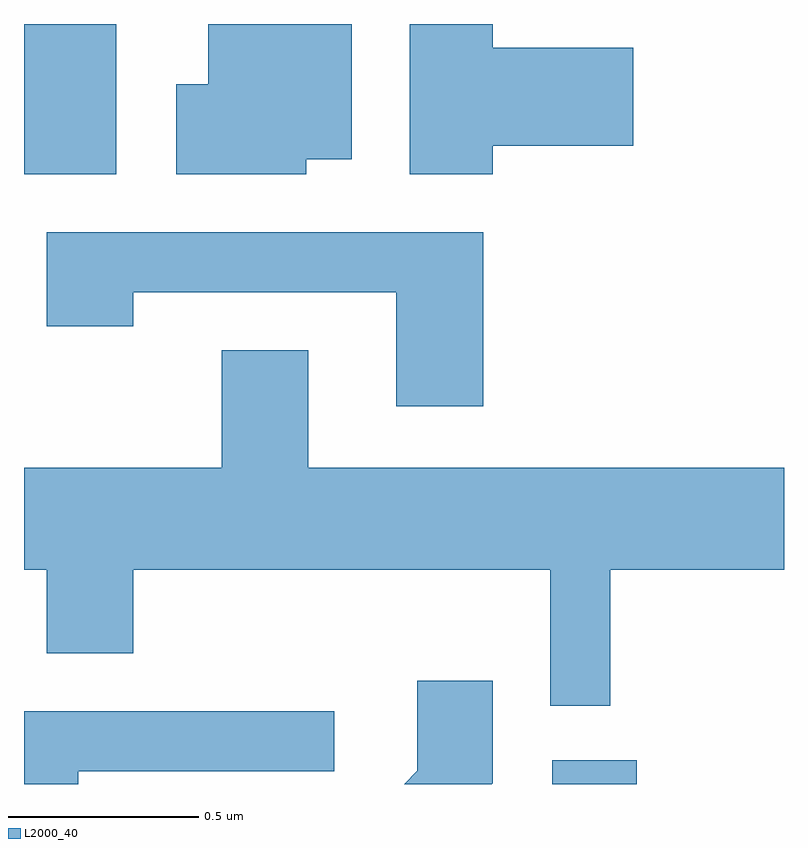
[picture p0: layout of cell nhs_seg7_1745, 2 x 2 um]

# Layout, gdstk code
import gdstk
lib = gdstk.Library(unit=1e-6, precision=1e-09)
def R(c, l, rs):  # rectangles x0, y0, x1, y1
    for r in rs: c.add(gdstk.rectangle(r[:2], r[2:], *l))
def P(c, l, *ps):  # polygons
    for p in ps: c.add(gdstk.Polygon(p, *l))
L2000_40 = (2000, 40)

nhs_seg7_1745 = lib.new_cell('nhs_seg7_1745')
R(nhs_seg7_1745, L2000_40, [(199.001,1769.252,199.224,1769.314), (197.611,1770.856,197.854,1771.252)])
P(nhs_seg7_1745, L2000_40, [(198.844,1770.931),(199.214,1770.931),(199.214,1771.189),(198.844,1771.189),(198.844,1771.252),(198.626,1771.252),(198.626,1770.856),(198.844,1770.856)],
  [(198.354,1770.896),(198.474,1770.896),(198.474,1771.252),(198.096,1771.252),(198.096,1771.094),(198.011,1771.094),(198.011,1770.856),(198.354,1770.856)],
  [(198.819,1770.704),(197.671,1770.704),(197.671,1770.456),(197.899,1770.456),(197.899,1770.546),(198.591,1770.546),(198.591,1770.246),(198.819,1770.246)],
  [(199.154,1769.816),(199.611,1769.816),(199.611,1770.084),(198.359,1770.084),(198.359,1770.394),(198.131,1770.394),(198.131,1770.084),(197.611,1770.084),(197.611,1769.816),(197.671,1769.816),(197.671,1769.596),(197.899,1769.596),(197.899,1769.816),(198.996,1769.816),(198.996,1769.458),(199.154,1769.458)],
  [(198.844,1769.254),(198.844,1769.524),(198.646,1769.524),(198.646,1769.287),(198.611,1769.252),(198.842,1769.252)],
  [(197.754,1769.286),(198.428,1769.286),(198.428,1769.444),(197.611,1769.444),(197.611,1769.252),(197.754,1769.252)])

lib.write_gds('nhs_seg7_1745.gds')
